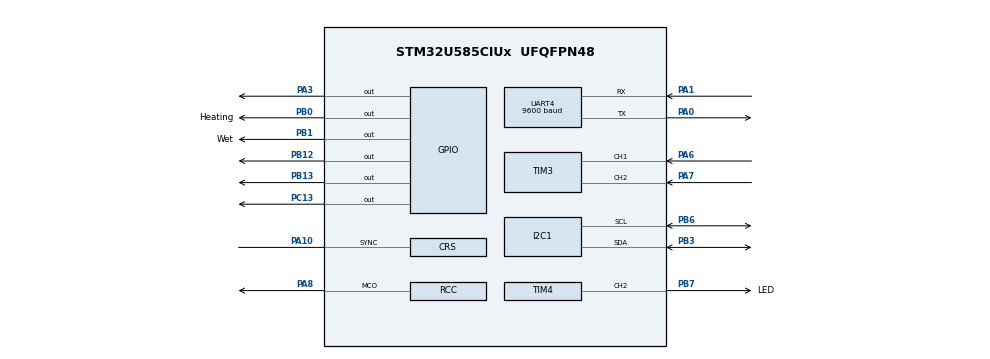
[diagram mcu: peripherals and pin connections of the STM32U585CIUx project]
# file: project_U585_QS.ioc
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CORTEX_M33_NS.userName=CORTEX_M33
I2C1.AddressingMode=I2C_ADDRESSINGMODE_7BIT
I2C1.AutonomousMode=AUTONOMOUS_MODE_ENABLE
I2C1.Timing=0x30909DEC
Mcu.Family=STM32U5
Mcu.Name=STM32U585CIUx
Mcu.Package=UFQFPN48
NVIC.PriorityGroup=NVIC_PRIORITYGROUP_4
NVIC.UART4_IRQn=true\:0\:0\:false\:false\:true\:true\:true\:true
PA0.Mode=Asynchronous
PA0.Signal=UART4_TX
PA1.Mode=Asynchronous
PA1.Signal=UART4_RX
PA10.Mode=CRS SYNC Source GPIO
PA10.Signal=CRS_SYNC
PA13\ (JTMS/SWDIO).Mode=Serial_Wire
PA13\ (JTMS/SWDIO).Signal=DEBUG_JTMS-SWDIO
PA14\ (JTCK/SWCLK).Mode=Serial_Wire
PA14\ (JTCK/SWCLK).Signal=DEBUG_JTCK-SWCLK
PA3.GPIO_PuPd=GPIO_PULLUP
PA3.GPIO_Speed=GPIO_SPEED_FREQ_VERY_HIGH
PA3.PinState=GPIO_PIN_SET
PA3.Signal=GPIO_Output
PA6.GPIO_PuPd=GPIO_PULLUP
PA6.Signal=S_TIM3_CH1
PA7.GPIO_PuPd=GPIO_PULLUP
PA7.Signal=S_TIM3_CH2
PA8.Mode=Clock-out
PA8.Signal=RCC_MCO
PB0.GPIO_Label=Heating
PB0.GPIO_PuPd=GPIO_PULLDOWN
PB0.Signal=GPIO_Output
PB1.GPIO_Label=Wet
PB1.GPIO_PuPd=GPIO_PULLUP
PB1.Signal=GPIO_Output
PB12.GPIO_ModeDefaultOutputPP=GPIO_MODE_OUTPUT_OD
PB12.GPIO_PuPd=GPIO_NOPULL
PB12.GPIO_Speed=GPIO_SPEED_FREQ_LOW
PB12.PinState=GPIO_PIN_RESET
PB12.Signal=GPIO_Output
PB13.GPIO_ModeDefaultOutputPP=GPIO_MODE_OUTPUT_OD
PB13.GPIO_PuPd=GPIO_NOPULL
PB13.GPIO_Speed=GPIO_SPEED_FREQ_LOW
PB13.Signal=GPIO_Output
PB3\ (JTDO/TRACESWO).Mode=I2C
PB3\ (JTDO/TRACESWO).Signal=I2C1_SDA
PB6.Mode=I2C
PB6.Signal=I2C1_SCL
PB7.GPIO_Label=LED
PB7.GPIO_PuPd=GPIO_PULLDOWN
PB7.Signal=S_TIM4_CH2
PC13.GPIO_PuPd=GPIO_PULLUP
PC13.PinState=GPIO_PIN_RESET
PC13.Signal=GPIO_Output
PC14-OSC32_IN\ (PC14).Mode=LSE-External-Oscillator
PC14-OSC32_IN\ (PC14).Signal=RCC_OSC32_IN
PC15-OSC32_OUT\ (PC15).Mode=LSE-External-Oscillator
PC15-OSC32_OUT\ (PC15).Signal=RCC_OSC32_OUT
PH0-OSC_IN\ (PH0).Mode=HSE-External-Oscillator
PH0-OSC_IN\ (PH0).Signal=RCC_OSC_IN
PH1-OSC_OUT\ (PH1).Mode=HSE-External-Oscillator
PH1-OSC_OUT\ (PH1).Signal=RCC_OSC_OUT
ProjectManager.HeapSize=0x200
ProjectManager.StackSize=0x400
ProjectManager.TargetToolchain=MDK-ARM V5.39
RCC.ADCFreq_Value=16000000
RCC.AHBFreq_Value=160000000
RCC.APB1Freq_Value=160000000
RCC.APB1TimFreq_Value=160000000
RCC.APB2Freq_Value=160000000
RCC.APB2TimFreq_Value=160000000
RCC.APB3Freq_Value=160000000
RCC.CortexFreq_Value=160000000
RCC.EPOD_VALUE=48000000
RCC.HCLKFreq_Value=160000000
RCC.HSE_VALUE=16000000
RCC.HSI48_VALUE=48000000
RCC.HSI_VALUE=16000000
RCC.LSIDIV_VALUE=32000
RCC.MSIClockRange=RCC_MSIRANGE_0
RCC.MSI_VALUE=48000000
RCC.PLL1R=1
RCC.PLL2FRACN=0
RCC.PLL3FRACN=0
RCC.PLLFRACN=0
RCC.PLLM=3
RCC.PLLN=10
RCC.SYSCLKFreq_VALUE=160000000
RCC.SYSCLKSource=RCC_SYSCLKSOURCE_PLLCLK
RCC.USBFreq_Value=48000000
RCC.VCOOutputFreq_Value=160000000
SH.S_TIM3_CH1.0=TIM3_CH1,Encoder_Interface
SH.S_TIM3_CH2.0=TIM3_CH2,Encoder_Interface
SH.S_TIM4_CH2.0=TIM4_CH2,PWM Generation2 CH2
TIM3.AutoReloadPreload=TIM_AUTORELOAD_PRELOAD_ENABLE
TIM3.EncoderMode=TIM_ENCODERMODE_TI1
TIM4.Channel-PWM\ Generation2\ CH2=TIM_CHANNEL_2
UART4.BaudRate=9600
VP_ICACHE_VS_ENABLE_ICACHE_MEMORY.Mode=Memoryregions
VP_ICACHE_VS_ICACHE.Mode=DefaultMode
VP_LPBAMQUEUE_VS_QUEUE.Mode=QUEUEMODE
VP_LPBAM_VS_SIG1.Mode=SmartRun
VP_LPBAM_VS_SIG4.Mode=LPDMA1
VP_MEMORYMAP_VS_MEMORYMAP.Mode=CurAppReg
VP_PWR_VS_SECSignals.Mode=Security/Privilege
board=custom

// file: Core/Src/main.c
/* USER CODE BEGIN Header */
/**
  ******************************************************************************
  * @file           : main.c
  * @brief          : Main program body
  ******************************************************************************
  * @attention
  *
  * Copyright (c) 2026 STMicroelectronics.
  * All rights reserved.
  *
  * This software is licensed under terms that can be found in the LICENSE file
  * in the root directory of this software component.
  * If no LICENSE file comes with this software, it is provided AS-IS.
  *
  ******************************************************************************
  */
/* USER CODE END Header */
#include "main.h"
#include "i2c.h"
#include "icache.h"
#include "tim.h"
#include "usart.h"
#include "gpio.h"

/* USER CODE BEGIN Includes */
#include "OLED.h"
#include "TSEN.h"
#include "Heating.h"
#include "ENCODER.h"
#include "LSEN.h"
#include "SENS.h"
#include "i2c.h"
#include "VOICE.h"
#include "Wet.h"
#include "LED.h"
#include "DISPLAY.h"
#include "MENU.h"
#include "FLASH_EEPROM.h"
/* USER CODE END Includes */

void SystemClock_Config (void);

/* USER CODE BEGIN 0 */

/**
  * @brief  低功耗延时: 替代 HAL_Delay, CPU 在中断等待期间进入 Sleep 模式。
  *         Sleep 模式下 CPU 时钟门控关闭，所有外设 (I2C/TIM/UART/GPIO)
  *         及 SysTick 继续运行。任何 IRQ 唤醒 CPU 后检查计时，
  *         未到时则再次 __WFI() 休眠。
  * @param  ms: 延时毫秒数
  * @note   与 HAL_Delay(ms) 功能完全等价, 零行为差异。
  *         U585 Sleep 模式相比全速忙等可节省约 50%+ 的动态功耗。
  */
static void SleepDelay(uint32_t ms)
{
    uint32_t tickstart = HAL_GetTick();
    while ((HAL_GetTick() - tickstart) < ms)
    {
        /* SLEEPDEEP=0 → Sleep 模式 (非 Stop)。
         * CPU 时钟停, HCLK/PCLK 不停, SysTick 每 1ms 唤醒 CPU。
         * Flash 在 Sleep 期间自动断电 (由 LowPower_Init 配置)。 */
        __WFI();
    }
}

/* USER CODE END 0 */

int main (void)
{

    /* MCU Configuration--------------------------------------------------------*/

    /* Reset of all peripherals, Initializes the Flash interface and the Systick. */
    HAL_Init();

    /* Configure the system clock */
    SystemClock_Config();

    /* USER CODE BEGIN SysInit */

    /* U585 低功耗初始化: Flash 在 Sleep 时自动断电 (STOP 模式下自动恢复) */
    __HAL_FLASH_SLEEP_POWERDOWN_ENABLE();

    /* USER CODE END SysInit */

    /* Initialize all configured peripherals */
    MX_GPIO_Init();
    MX_ICACHE_Init();
    MX_I2C1_Init();
    MX_TIM3_Init();
    MX_TIM4_Init();
    MX_UART4_Init();
    /* USER CODE BEGIN 2 */
    SENS_Init();
    Heating_Init();
    DISPLAY_Init();  // OLED 初始化 + 启动画面

    Heating_Set(25.0f);

    LED_Init();             // LED PWM 初始化
    LED_SetTargetLux(1000);  // 设定目标照度 1000 lux

    MENU_Init();   // 菜单初始化 (PB5 按键)

    VOICE_Init();  // 语音模块初始化 (UART4 中断接收模式)

    FlashEE_Init(); // 从 Flash 恢复上次断电前保存的配置 (温度/湿度/光照/模式)
                   /* USER CODE END 2 */

    /* Infinite loop */
    /* USER CODE BEGIN WHILE */

    //HAL_GPIO_WritePin(GPIOA, GPIO_PIN_4, GPIO_PIN_RESET);    // 拉低 CS
    while (1)
    {
        SENS_Read();

        /* 温控 */
        Heating_Control(temperature_c);

        /* 湿控 */
        Wet_Control(humidity);

        /* LED 自动调光 */
        LED_Task();

        /* OLED 显示刷新 (含阴影缓存, 仅更新变化字符) */
        DISPLAY_Update();

        /* 菜单任务 (按键/编码器检测 + 休眠管理) */
        MENU_Task();

        /* 语音指令处理 (非阻塞, 每 ~300ms 自动轮询 ASRPRO) */
        VOICE_Process();

        /* Flash EEPROM 后台写入 (dirty 3 秒后自动保存) */
        FlashEE_Task();

        SleepDelay(100); /* 低功耗延时: CPU Sleep 替代忙等, 零行为差异 */
        /* USER CODE END WHILE */

    }
}

void SystemClock_Config (void)
{
    RCC_OscInitTypeDef RCC_OscInitStruct = {0};
    RCC_ClkInitTypeDef RCC_ClkInitStruct = {0};
    RCC_CRSInitTypeDef RCC_CRSInitStruct = {0};

    /** Configure the main internal regulator output voltage
  */
    if (HAL_PWREx_ControlVoltageScaling(PWR_REGULATOR_VOLTAGE_SCALE1) != HAL_OK)
    {
        Error_Handler();
    }

    /** Initializes the CPU, AHB and APB buses clocks
  */
    RCC_OscInitStruct.OscillatorType = RCC_OSCILLATORTYPE_HSI48 | RCC_OSCILLATORTYPE_MSI;
    RCC_OscInitStruct.HSI48State = RCC_HSI48_ON;
    RCC_OscInitStruct.MSIState = RCC_MSI_ON;
    RCC_OscInitStruct.MSICalibrationValue = RCC_MSICALIBRATION_DEFAULT;
    RCC_OscInitStruct.MSIClockRange = RCC_MSIRANGE_0;
    RCC_OscInitStruct.PLL.PLLState = RCC_PLL_ON;
    RCC_OscInitStruct.PLL.PLLSource = RCC_PLLSOURCE_MSI;
    RCC_OscInitStruct.PLL.PLLMBOOST = RCC_PLLMBOOST_DIV4;
    RCC_OscInitStruct.PLL.PLLM = 3;
    RCC_OscInitStruct.PLL.PLLN = 10;
    RCC_OscInitStruct.PLL.PLLP = 2;
    RCC_OscInitStruct.PLL.PLLQ = 2;
    RCC_OscInitStruct.PLL.PLLR = 1;
    RCC_OscInitStruct.PLL.PLLRGE = RCC_PLLVCIRANGE_1;
    RCC_OscInitStruct.PLL.PLLFRACN = 0;
    if (HAL_RCC_OscConfig(&RCC_OscInitStruct) != HAL_OK)
    {
        Error_Handler();
    }

    /** Initializes the CPU, AHB and APB buses clocks
  */
    RCC_ClkInitStruct.ClockType = RCC_CLOCKTYPE_HCLK | RCC_CLOCKTYPE_SYSCLK | RCC_CLOCKTYPE_PCLK1 | RCC_CLOCKTYPE_PCLK2 | RCC_CLOCKTYPE_PCLK3;
    RCC_ClkInitStruct.SYSCLKSource = RCC_SYSCLKSOURCE_PLLCLK;
    RCC_ClkInitStruct.AHBCLKDivider = RCC_SYSCLK_DIV1;
    RCC_ClkInitStruct.APB1CLKDivider = RCC_HCLK_DIV1;
    RCC_ClkInitStruct.APB2CLKDivider = RCC_HCLK_DIV1;
    RCC_ClkInitStruct.APB3CLKDivider = RCC_HCLK_DIV1;

    if (HAL_RCC_ClockConfig(&RCC_ClkInitStruct, FLASH_LATENCY_4) != HAL_OK)
    {
        Error_Handler();
    }

    /** Enable the SYSCFG APB clock
  */
    __HAL_RCC_CRS_CLK_ENABLE();

    /** Configures CRS
  */
    RCC_CRSInitStruct.Prescaler = RCC_CRS_SYNC_DIV1;
    RCC_CRSInitStruct.Source = RCC_CRS_SYNC_SOURCE_GPIO;
    RCC_CRSInitStruct.Polarity = RCC_CRS_SYNC_POLARITY_RISING;
    RCC_CRSInitStruct.ReloadValue = __HAL_RCC_CRS_RELOADVALUE_CALCULATE(48000000, 1);
    RCC_CRSInitStruct.ErrorLimitValue = 34;
    RCC_CRSInitStruct.HSI48CalibrationValue = 32;

    HAL_RCCEx_CRSConfig(&RCC_CRSInitStruct);

    /** MCO configuration
  */
    HAL_RCC_MCOConfig(RCC_MCO1, RCC_MCO1SOURCE_SYSCLK, RCC_MCODIV_1);
}

void Error_Handler (void)
{
    __disable_irq();
    while (1)
    {
    }
}
